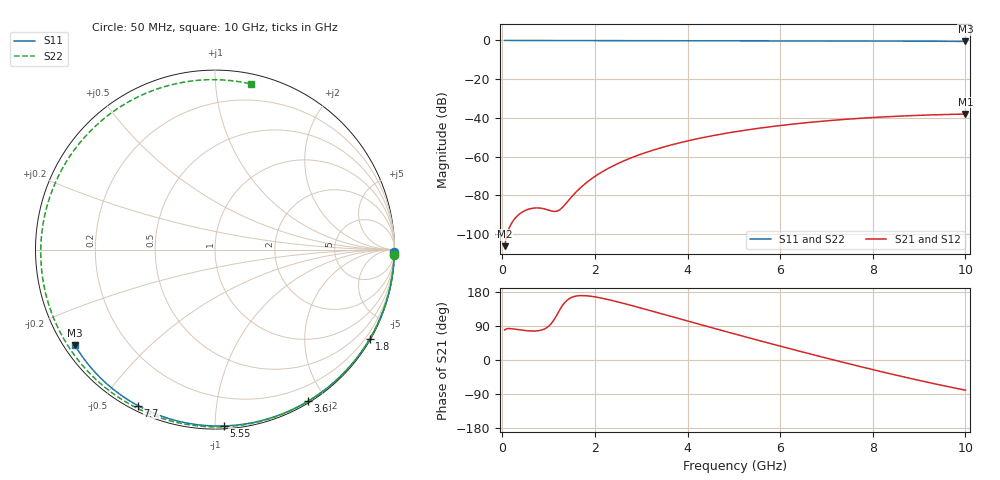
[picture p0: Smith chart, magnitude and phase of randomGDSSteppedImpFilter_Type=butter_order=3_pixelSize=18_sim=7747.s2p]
! freq	dB(S11)	phase(S11)	dB(S12)	phase(S12)
!  dB(S21)	phase(S21)	dB(S22)	phase(S22)
!S-par simulation data
#  GHz  S  DB  R 50
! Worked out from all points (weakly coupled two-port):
!   200 points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, 50 MHz to 10 GHz, reference 50 ohm
!   highest |S21| = -37.99 dB at 10 GHz (marker M1); lowest = -106.2 dB at 50 MHz (marker M2)
!   lowest |S11| = -0.5 dB at 10 GHz (marker M3), VSWR 35.31, Z = 1.55 - j15.4 ohm
!   |S11| at or under -10 dB: nowhere
!   |S22| runs from -0.5 to 0.0 dB; largest |S21 - S12| = 0
!   S11 on the Smith chart (normalised r, x): 50 MHz: open; 1.8 GHz: 0.03, -3.73; 3.6 GHz: 0.02, -1.78; 5.55 GHz: 0.02, -1.05; 7.7 GHz: 0.02, -0.62; 10 GHz: 0.03, -0.31
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0.05  -0.00 -0.8  -106.18 79.4  -106.18 79.4  -0.00 -1.8
0.35  -0.01 -5.9  -90.00 80.1  -90.00 80.1  -0.02 -13.1
0.7  -0.02 -11.8  -86.48 76.5  -86.48 76.5  -0.03 -26.0
1.1  -0.02 -18.5  -88.21 103.0  -88.21 103.0  -0.05 -40.5
1.5  -0.03 -25.1  -80.63 165.3  -80.63 165.3  -0.07 -54.5
1.75  -0.04 -29.2  -74.71 169.9  -74.71 169.9  -0.08 -63.0
1.8  -0.04 -30.0  -73.71 169.6  -73.71 169.6  -0.08 -64.7
2.1  -0.04 -34.9  -68.62 164.3  -68.62 164.3  -0.09 -74.6
2.45  -0.05 -40.6  -64.06 154.6  -64.06 154.6  -0.10 -85.7
2.9  -0.06 -47.7  -59.52 140.2  -59.52 140.2  -0.12 -99.3
3.4  -0.07 -55.5  -55.58 123.4  -55.58 123.4  -0.13 -113.7
3.6  -0.08 -58.6  -54.24 116.6  -54.24 116.6  -0.14 -119.3
4.35  -0.10 -69.9  -50.05 91.1  -50.05 91.1  -0.17 -139.3
5.05  -0.12 -80.1  -47.05 67.6  -47.05 67.6  -0.20 -156.9
5.55  -0.14 -87.2  -45.28 51.2  -45.28 51.2  -0.23 -169.2
6.1  -0.17 -94.9  -43.64 33.4  -43.64 33.4  -0.26 177.5
6.7  -0.20 -103.0  -42.14 14.3  -42.14 14.3  -0.30 163.0
7.2  -0.23 -109.7  -41.10 -1.3  -41.10 -1.3  -0.33 150.8
7.7  -0.27 -116.3  -40.22 -16.5  -40.22 -16.5  -0.36 138.4
8.35  -0.32 -124.7  -39.32 -35.6  -39.32 -35.6  -0.41 121.9
9.2  -0.40 -135.6  -38.48 -59.2  -38.48 -59.2  -0.46 99.6
10  -0.49 -145.8  -37.99 -79.6  -37.99 -79.6  -0.50 77.9
